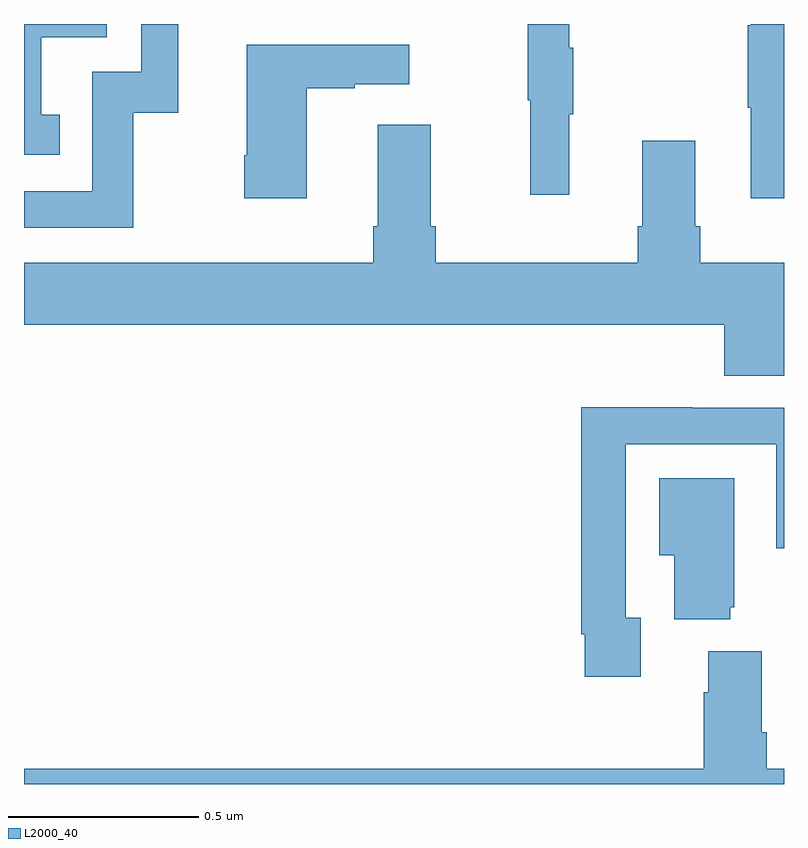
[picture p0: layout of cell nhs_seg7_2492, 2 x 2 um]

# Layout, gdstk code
import gdstk
lib = gdstk.Library(unit=1e-6, precision=1e-09)
def P(c, l, *ps):  # polygons
    for p in ps: c.add(gdstk.Polygon(p, *l))
L2000_40 = (2000, 40)

nhs_seg7_2492 = lib.new_cell('nhs_seg7_2492')
P(nhs_seg7_2492, L2000_40, [(145.288,1075.767),(145.406,1075.767),(145.406,1076),(145.308,1076),(145.308,1075.875),(145.179,1075.875),(145.179,1075.56),(145,1075.56),(145,1075.464),(145.288,1075.464)],
  [(147,1076),(146.912,1076),(146.912,1075.997),(146.905,1075.997),(146.905,1075.78),(146.912,1075.78),(146.912,1075.542),(147,1075.542)],
  [(146.435,1075.763),(146.446,1075.763),(146.446,1075.937),(146.435,1075.937),(146.435,1076),(146.325,1076),(146.325,1075.8),(146.332,1075.8),(146.332,1075.551),(146.435,1075.551)],
  [(145.094,1075.761),(145.045,1075.761),(145.045,1075.965),(145.218,1075.965),(145.218,1076),(145,1076),(145,1075.656),(145.094,1075.656)],
  [(145.744,1075.831),(145.871,1075.831),(145.871,1075.841),(146.014,1075.841),(146.014,1075.945),(145.586,1075.945),(145.586,1075.654),(145.579,1075.654),(145.579,1075.542),(145.744,1075.542)],
  [(147,1075.372),(146.78,1075.372),(146.78,1075.468),(146.767,1075.468),(146.767,1075.693),(146.627,1075.693),(146.627,1075.468),(146.615,1075.468),(146.615,1075.372),(146.084,1075.372),(146.084,1075.468),(146.071,1075.468),(146.071,1075.735),(145.931,1075.735),(145.931,1075.468),(145.919,1075.468),(145.919,1075.372),(145,1075.372),(145,1075.208),(146.843,1075.208),(146.843,1075.075),(147,1075.075)],
  [(146.623,1074.438),(146.583,1074.438),(146.583,1074.894),(146.979,1074.894),(146.979,1074.621),(147,1074.621),(147,1074.99),(146.759,1074.99),(146.759,1074.992),(146.467,1074.992),(146.467,1074.394),(146.475,1074.394),(146.475,1074.282),(146.623,1074.282)],
  [(146.858,1074.465),(146.869,1074.465),(146.869,1074.805),(146.672,1074.805),(146.672,1074.602),(146.711,1074.602),(146.711,1074.434),(146.858,1074.434)],
  [(147,1074.04),(146.954,1074.04),(146.954,1074.136),(146.941,1074.136),(146.941,1074.349),(146.801,1074.349),(146.801,1074.242),(146.789,1074.242),(146.789,1074.04),(145,1074.04),(145,1074),(147,1074)])

lib.write_gds('nhs_seg7_2492.gds')
